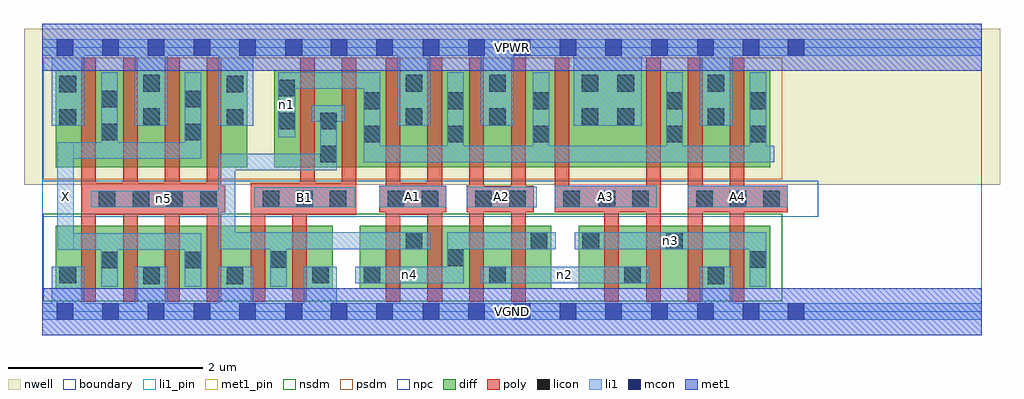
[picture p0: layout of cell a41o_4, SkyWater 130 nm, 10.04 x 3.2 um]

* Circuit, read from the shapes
.subckt a41o_4 A1 A2 A3 A4 B1 VGND VPWR X n1 n2 n3 n4 n5
XM1 X n5 VGND VSUBS sky130_fd_pr__nfet_01v8 w=0.65 l=0.15 m=4
XM2 n5 B1 VGND VSUBS sky130_fd_pr__nfet_01v8 w=0.65 l=0.15 m=2
XM3 n5 A1 n4 VSUBS sky130_fd_pr__nfet_01v8 w=0.65 l=0.15 m=2
XM4 n2 A2 n4 VSUBS sky130_fd_pr__nfet_01v8 w=0.65 l=0.15 m=2
XM5 n2 A3 n3 VSUBS sky130_fd_pr__nfet_01v8 w=0.65 l=0.15 m=2
XM6 VGND A4 n3 VSUBS sky130_fd_pr__nfet_01v8 w=0.65 l=0.15 m=2
XM7 X n5 VPWR n6 sky130_fd_pr__pfet_01v8 w=1 l=0.15 m=4
XM8 n5 B1 n1 n6 sky130_fd_pr__pfet_01v8 w=1 l=0.15 m=2
XM9 VPWR A1 n1 n6 sky130_fd_pr__pfet_01v8 w=1 l=0.15 m=2
XM10 VPWR A2 n1 n6 sky130_fd_pr__pfet_01v8 w=1 l=0.15 m=2
XM11 VPWR A3 n1 n6 sky130_fd_pr__pfet_01v8 w=1 l=0.15 m=2
XM12 VPWR A4 n1 n6 sky130_fd_pr__pfet_01v8 w=1 l=0.15 m=2
.ends

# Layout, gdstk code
import gdstk
lib = gdstk.Library(unit=1e-6, precision=1e-09)
def R(c, l, rs):  # rectangles x0, y0, x1, y1
    for r in rs: c.add(gdstk.rectangle(r[:2], r[2:], *l))
def A(c, l, x, y, w, h, nx, ny, dx, dy):  # array of equal rectangles
    R(c, l, [(x+i*dx, y+j*dy, x+i*dx+w, y+j*dy+h) for i in range(nx) for j in range(ny)])
nwell = (64, 20)
diff = (65, 20)
poly = (66, 20)
licon = (66, 44)
li1_pin = (67, 16)
li1 = (67, 20)
mcon = (67, 44)
met1_pin = (68, 16)
met1 = (68, 20)
nsdm = (93, 44)
psdm = (94, 20)
npc = (95, 20)
boundary = (235, 4)

a41o_4 = lib.new_cell('a41o_4')
R(a41o_4, nwell, [(-0.19,1.305,9.85,2.91), (0,1.305,9.66,2.91)])
R(a41o_4, diff, [(0.135,0.235,2.985,0.885), (3.265,0.235,5.235,0.885), (5.515,0.235,7.485,0.885), (0.135,1.485,2.105,2.485), (2.385,1.485,7.485,2.485)])
A(a41o_4, poly, 0.4, 0.105, 0.15, 2.51, 4, 1, 0.43, 0)
A(a41o_4, poly, 3.53, 0.105, 0.15, 2.51, 4, 1, 0.43, 0)
A(a41o_4, poly, 6.21, 0.105, 0.15, 2.51, 3, 1, 0.43, 0)
R(a41o_4, poly, [(2.14,0.105,2.29,1.325), (2.57,0.105,2.72,1.325), (5.78,0.105,5.93,1.295), (0.4,0.995,1.84,1.325), (2.14,0.995,3.23,1.325), (2.65,0.995,2.8,2.615), (3.08,0.995,3.23,2.615), (3.53,0.995,4.11,1.325), (0.4,1.025,1.88,1.295), (3.465,1.025,4.155,1.295), (4.365,1.025,5.055,1.295), (5.27,1.025,6.36,1.295), (5.27,1.025,5.42,2.615), (6.64,1.025,7.665,1.295)])
A(a41o_4, licon, 2.265, 1.075, 0.17, 0.17, 3, 1, 0.345, 0)
A(a41o_4, licon, 6.725, 1.075, 0.17, 0.17, 3, 1, 0.345, 0)
R(a41o_4, licon, [(1.035,0.285,1.205,0.455), (1.895,0.285,2.065,0.455), (6.845,0.285,7.015,0.455), (0.175,0.295,0.345,0.465), (2.775,0.295,2.945,0.465), (3.305,0.295,3.475,0.465), (4.595,0.295,4.765,0.465), (5.985,0.295,6.155,0.465), (0.605,0.445,0.775,0.615), (1.465,0.445,1.635,0.615), (2.345,0.45,2.515,0.62), (7.275,0.45,7.445,0.62), (4.165,0.47,4.335,0.64), (3.735,0.645,3.905,0.815), (5.025,0.645,5.195,0.815), (5.555,0.645,5.725,0.815), (6.415,0.645,6.585,0.815), (0.58,1.075,0.75,1.245), (0.93,1.075,1.1,1.245), (1.275,1.075,1.445,1.245), (1.625,1.075,1.795,1.245), (3.55,1.075,3.72,1.245), (3.9,1.075,4.07,1.245), (4.45,1.075,4.62,1.245), (4.8,1.075,4.97,1.245), (5.355,1.075,5.525,1.245), (5.72,1.075,5.89,1.245), (6.065,1.075,6.235,1.245), (2.855,1.535,3.025,1.705), (3.305,1.745,3.475,1.915), (4.165,1.745,4.335,1.915), (5.045,1.745,5.215,1.915), (6.415,1.745,6.585,1.915), (7.275,1.745,7.445,1.915), (0.605,1.765,0.775,1.935), (1.465,1.765,1.635,1.935), (2.425,1.875,2.595,2.045), (2.855,1.875,3.025,2.045), (0.175,1.915,0.345,2.085), (1.895,1.915,2.065,2.085), (1.035,1.925,1.205,2.095), (3.735,1.925,3.905,2.095), (4.595,1.925,4.765,2.095), (5.545,1.925,5.715,2.095), (5.915,1.925,6.085,2.095), (6.845,1.925,7.015,2.095), (3.305,2.085,3.475,2.255), (4.165,2.085,4.335,2.255), (5.045,2.085,5.215,2.255), (6.415,2.085,6.585,2.255), (7.275,2.085,7.445,2.255), (0.605,2.105,0.775,2.275), (1.465,2.105,1.635,2.275), (2.425,2.215,2.595,2.385), (0.175,2.255,0.345,2.425), (1.895,2.255,2.065,2.425), (1.035,2.265,1.205,2.435), (3.735,2.265,3.905,2.435), (4.595,2.265,4.765,2.435), (5.545,2.265,5.715,2.435), (5.915,2.265,6.085,2.435), (6.845,2.265,7.015,2.435)])
R(a41o_4, li1_pin, [(0.15,0.635,0.32,1.745), (2.18,1.075,3.21,1.28), (3.465,1.075,4.155,1.295), (4.365,1.075,5.085,1.285), (5.27,1.075,6.32,1.295), (6.64,1.075,7.665,1.295)])
R(a41o_4, li1, [(0,-0.085,9.66,0.085), (0.095,-0.085,0.43,0.465), (0.95,-0.085,1.29,0.465), (1.81,-0.085,2.17,0.465), (2.69,-0.085,3.025,0.465), (6.76,-0.085,7.1,0.465), (0.605,0.255,0.775,0.805), (1.465,0.255,1.635,0.805), (2.345,0.255,2.515,0.815), (7.275,0.255,7.445,0.815), (3.22,0.295,4.335,0.465), (4.165,0.295,4.335,0.815), (4.51,0.295,6.24,0.465), (0.15,0.635,1.635,0.805), (0.15,0.635,0.32,1.745), (1.81,0.645,3.99,0.815), (1.81,0.645,1.985,1.625), (4.165,0.645,5.28,0.815), (5.475,0.645,7.445,0.815), (0.495,1.075,1.985,1.245), (2.18,1.075,3.21,1.28), (3.465,1.075,4.155,1.295), (4.365,1.075,5.085,1.285), (5.27,1.075,6.32,1.295), (6.64,1.075,7.665,1.295), (1.81,1.455,3.025,1.625), (2.855,1.455,3.025,2.125), (3.305,1.535,7.53,1.705), (3.305,1.535,3.475,2.465), (4.165,1.535,4.335,2.465), (5.045,1.535,5.215,2.465), (6.415,1.535,6.585,2.465), (7.275,1.535,7.445,2.465), (0.15,1.575,1.635,1.745), (0.605,1.575,0.775,2.465), (1.465,1.575,1.635,2.465), (2.425,1.795,2.6,2.465), (0.095,1.915,0.43,2.805), (0.95,1.915,1.29,2.805), (1.81,1.915,2.17,2.805), (3.65,1.915,3.99,2.805), (4.51,1.915,4.85,2.805), (5.465,1.915,6.165,2.805), (6.76,1.915,7.1,2.805), (2.77,1.955,3.11,2.125), (2.425,2.295,3.475,2.465), (0,2.635,9.66,2.805)])
A(a41o_4, mcon, 0.145, -0.085, 0.17, 0.17, 5, 2, 0.47, 2.72)
A(a41o_4, mcon, 3.91, -0.085, 0.17, 0.17, 6, 2, 0.47, 2.72)
R(a41o_4, mcon, [(2.5,-0.085,2.67,0.085), (2.965,-0.085,3.135,0.085), (3.435,-0.085,3.605,0.085), (6.735,-0.085,6.905,0.085), (7.205,-0.085,7.375,0.085), (7.665,-0.085,7.835,0.085), (2.5,2.635,2.67,2.805), (2.965,2.635,3.135,2.805), (3.435,2.635,3.605,2.805), (6.735,2.635,6.905,2.805), (7.205,2.635,7.375,2.805), (7.665,2.635,7.835,2.805)])
R(a41o_4, met1_pin, [(0,-0.24,9.66,0.24), (0,2.48,9.66,2.96)])
R(a41o_4, met1, [(0,-0.24,9.66,0.24), (0,2.48,9.66,2.96)])
R(a41o_4, nsdm, [(0.01,0.11,7.61,1.01)])
R(a41o_4, psdm, [(0.01,1.36,7.61,2.61)])
R(a41o_4, npc, [(0,0.975,7.98,1.345)])
R(a41o_4, boundary, [(0,0,9.66,2.72)])
a41o_4.add(gdstk.Label('A1', (3.81,1.185), layer=67, texttype=5))
a41o_4.add(gdstk.Label('A2', (4.725,1.18), layer=67, texttype=5))
a41o_4.add(gdstk.Label('A3', (5.795,1.185), layer=67, texttype=5))
a41o_4.add(gdstk.Label('A4', (7.152,1.185), layer=67, texttype=5))
a41o_4.add(gdstk.Label('B1', (2.695,1.177), layer=67, texttype=5))
a41o_4.add(gdstk.Label('X', (0.235,1.19), layer=67, texttype=5))
a41o_4.add(gdstk.Label('n2', (5.375,0.38), layer=67, texttype=5))
a41o_4.add(gdstk.Label('n4', (3.777,0.38), layer=67, texttype=5))
a41o_4.add(gdstk.Label('n3', (6.46,0.73), layer=67, texttype=5))
a41o_4.add(gdstk.Label('n5', (1.24,1.16), layer=67, texttype=5))
a41o_4.add(gdstk.Label('n1', (2.512,2.13), layer=67, texttype=5))
a41o_4.add(gdstk.Label('VPWR', (4.83,2.72), layer=68, texttype=5))
a41o_4.add(gdstk.Label('VGND', (4.83,0), layer=68, texttype=5))
a41o_4.add(gdstk.Label('A1', (3.81,1.185), layer=67, texttype=16))
a41o_4.add(gdstk.Label('A2', (4.725,1.18), layer=67, texttype=16))
a41o_4.add(gdstk.Label('A3', (5.795,1.185), layer=67, texttype=16))
a41o_4.add(gdstk.Label('A4', (7.152,1.185), layer=67, texttype=16))
a41o_4.add(gdstk.Label('B1', (2.695,1.177), layer=67, texttype=16))
a41o_4.add(gdstk.Label('X', (0.235,1.19), layer=67, texttype=16))
a41o_4.add(gdstk.Label('VPWR', (4.83,2.72), layer=68, texttype=16))
a41o_4.add(gdstk.Label('VGND', (4.83,0), layer=68, texttype=16))

lib.write_gds('a41o_4.gds')
